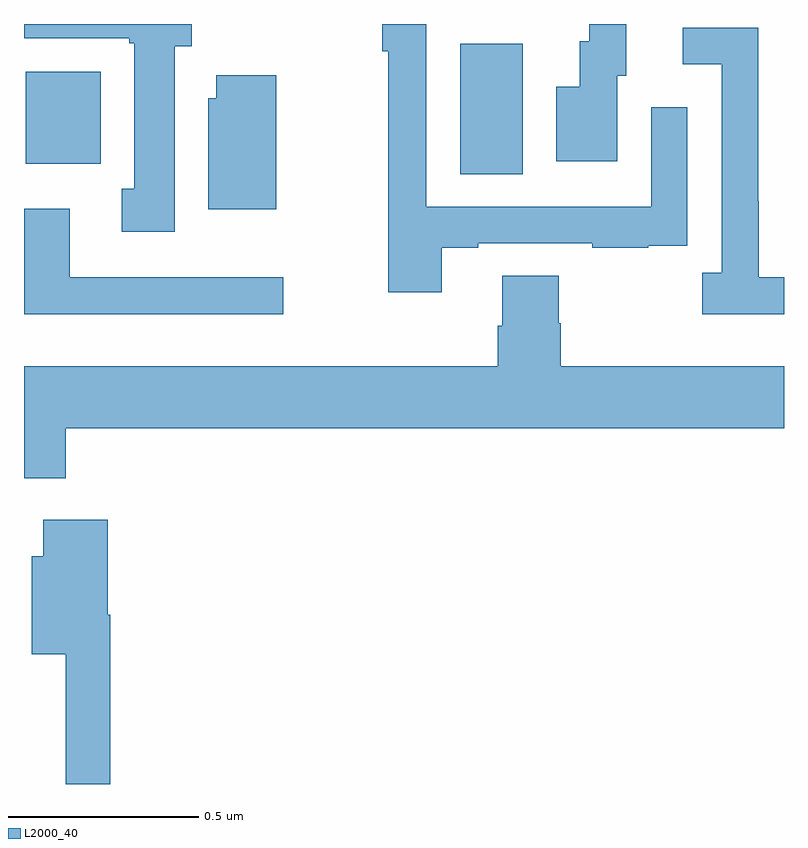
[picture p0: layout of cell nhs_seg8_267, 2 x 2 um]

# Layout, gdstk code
import gdstk
lib = gdstk.Library(unit=1e-6, precision=1e-09)
def R(c, l, rs):  # rectangles x0, y0, x1, y1
    for r in rs: c.add(gdstk.rectangle(r[:2], r[2:], *l))
def P(c, l, *ps):  # polygons
    for p in ps: c.add(gdstk.Polygon(p, *l))
L2000_40 = (2000, 40)

nhs_seg8_267 = lib.new_cell('nhs_seg8_267')
R(nhs_seg8_267, L2000_40, [(115.148,1114.504,115.312,1114.848), (114.005,1114.532,114.202,1114.774)])
P(nhs_seg8_267, L2000_40, [(115.099,1114.311),(115.195,1114.311),(115.195,1114.323),(115.495,1114.323),(115.495,1114.311),(115.643,1114.311),(115.643,1114.317),(115.745,1114.317),(115.745,1114.426),(115.746,1114.426),(115.746,1114.681),(115.65,1114.681),(115.65,1114.419),(115.059,1114.419),(115.059,1114.9),(114.943,1114.9),(114.943,1114.828),(114.958,1114.828),(114.958,1114.194),(115.099,1114.194)],
  [(115.561,1114.764),(115.585,1114.764),(115.585,1114.9),(115.488,1114.9),(115.488,1114.854),(115.463,1114.854),(115.463,1114.735),(115.4,1114.735),(115.4,1114.539),(115.561,1114.539)],
  [(114.397,1114.842),(114.442,1114.842),(114.442,1114.9),(114,1114.9),(114,1114.862),(114.277,1114.862),(114.277,1114.849),(114.29,1114.849),(114.29,1114.466),(114.257,1114.466),(114.257,1114.353),(114.397,1114.353)],
  [(116,1114.233),(115.933,1114.233),(115.933,1114.433),(115.932,1114.433),(115.932,1114.89),(115.734,1114.89),(115.734,1114.794),(115.836,1114.794),(115.836,1114.246),(115.785,1114.246),(115.785,1114.136),(116,1114.136)],
  [(114.664,1114.765),(114.506,1114.765),(114.506,1114.704),(114.485,1114.704),(114.485,1114.412),(114.664,1114.412)],
  [(114.682,1114.233),(114.121,1114.233),(114.121,1114.414),(114,1114.414),(114,1114.136),(114.682,1114.136)],
  [(114.11,1113.836),(116,1113.836),(116,1114),(115.412,1114),(115.412,1114.113),(115.407,1114.113),(115.407,1114.238),(115.259,1114.238),(115.259,1114.106),(115.247,1114.106),(115.247,1114),(114,1114),(114,1113.705),(114.11,1113.705)],
  [(114.227,1113.346),(114.221,1113.346),(114.221,1113.595),(114.05,1113.595),(114.05,1113.499),(114.02,1113.499),(114.02,1113.242),(114.11,1113.242),(114.11,1112.9),(114.227,1112.9)])

lib.write_gds('nhs_seg8_267.gds')
